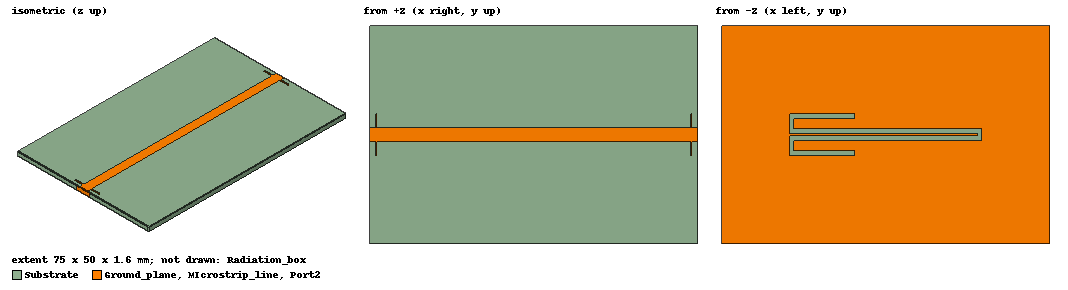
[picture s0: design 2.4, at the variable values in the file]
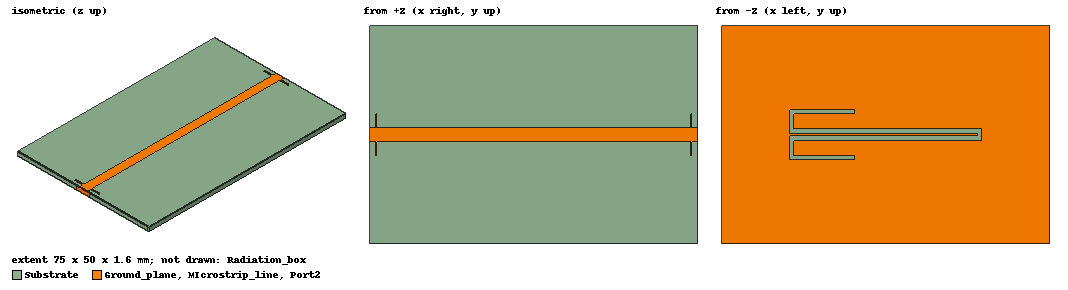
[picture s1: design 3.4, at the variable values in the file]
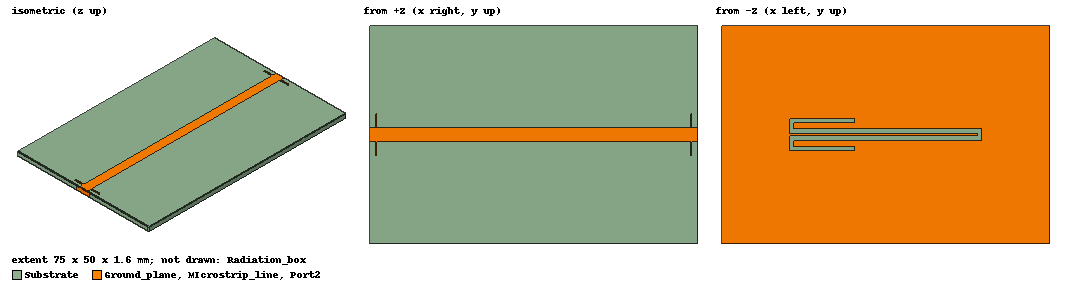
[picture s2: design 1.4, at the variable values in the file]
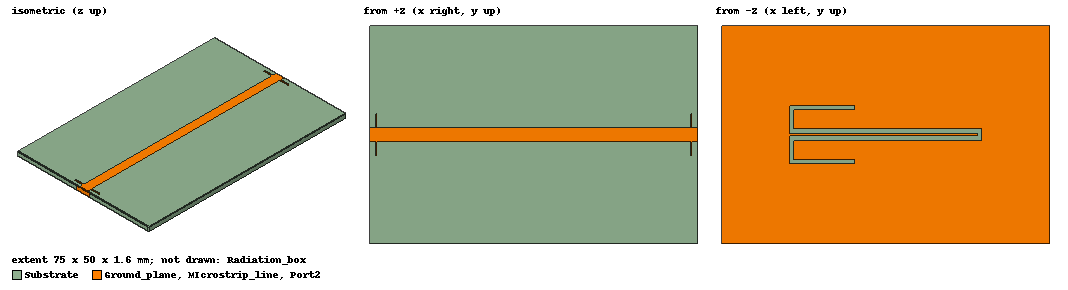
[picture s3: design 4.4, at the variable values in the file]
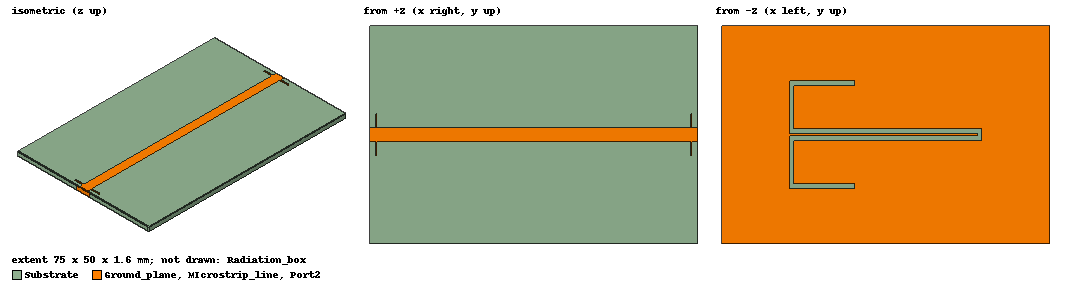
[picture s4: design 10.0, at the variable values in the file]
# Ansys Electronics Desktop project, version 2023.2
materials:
  vacuum: permittivity=1
  FR4_epoxy: permittivity=4.4 dielectric_loss_tangent=0.02
  air: permittivity=1.0006 permeability=1.0000004
  copper: permeability=0.999991 conductivity=58000000

design 2.4 (HFSS, HFSS Terminal Network, model units mm)
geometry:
  Substrate [FR4_epoxy] = box(corner=(-37.5mm, -25mm, 0mm), size=(75mm, 50mm, 1.6mm))
  Ground_plane = rectangle(corner=(-37.5mm, -25mm, 0mm), x_size=75mm, y_size=50mm)
  Rectangle1 = rectangle(corner=(-22mm, -1.3mm, 0mm), x_size=44mm, y_size=1mm)
  Rectangle2 = rectangle(corner=(-22mm, 0.3mm, 0mm), x_size=44mm, y_size=1mm)
  Rectangle3 = rectangle(corner=(-22mm, -0.3mm, 0mm), x_size=1mm, y_size=0.6mm)
  Rectangle4 = rectangle(corner=(22mm, -1.3mm, 0mm), x_size=-1mm, y_size=-2.4mm)
  Rectangle5 = rectangle(corner=(22mm, 3.7mm, 0mm), x_size=-1mm, y_size=-2.4mm)
  Rectangle6 = rectangle(corner=(22mm, -3.7mm, 0mm), x_size=-15mm, y_size=-1mm)
  Rectangle7 = rectangle(corner=(22mm, 4.7mm, 0mm), x_size=-15mm, y_size=-1mm)
  Ground_plane.subtract(Rectangle1..Rectangle7)
  MIcrostrip_line = rectangle(corner=(-37.5mm, -1.5mm, 1.6mm), x_size=75mm, y_size=3mm)
  Rectangle8 = rectangle(corner=(35.8mm, -1.5mm, 1.6mm), x_size=0.4mm, y_size=-3.4mm)
  Rectangle9 = rectangle(corner=(35.8mm, 1.5mm, 1.6mm), x_size=0.4mm, y_size=3.4mm)
  Rectangle10 = rectangle(corner=(-36.2mm, -1.5mm, 1.6mm), x_size=0.4mm, y_size=-3.4mm)
  Rectangle11 = rectangle(corner=(-36.2mm, 1.5mm, 1.6mm), x_size=0.4mm, y_size=3.4mm)
  MIcrostrip_line.unite(Rectangle8..Rectangle11)
  Port1 = rectangle(corner=(-37.5mm, -2.5mm, 1.6mm), y_size=5mm, z_size=-1.6mm)
  Port2 = rectangle(corner=(37.5mm, -2.5mm, 1.6mm), y_size=5mm, z_size=-1.6mm)
  Radiation_box [air] = box(corner=(-60mm, -45mm, -10mm), size=(125mm, 90mm, 35mm))
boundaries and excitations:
  PerfE1: Perfect E Objects=Ground_plane
  PerfE2: Perfect E Objects=MIcrostrip_line
  Rad1: Radiation Objects=Radiation_box
  1: Lumped Port Objects=Port1 LumpedPortType=Modal Modes{Mode1{IntLine{(-37.5, 0, 0) -> (-37.5, 0, 1.6)} CharImp=Zpi RenormImp=50ohm}} Impedance=50ohm
  2: Lumped Port Objects=Port2 LumpedPortType=Modal Modes{Mode1{IntLine{(37.5, 0, 0) -> (37.5, 0, 1.6)} CharImp=Zpi RenormImp=50ohm}} Impedance=50ohm
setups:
  Setup1: HfssDriven Frequency=1GHz MaxDeltaS=0.02 MaximumPasses=6 MinimumPasses=1 MinimumConvergedPasses=1 PercentRefinement=30 BasisOrder=1 PortAccuracy=2 DrivenSolverType="Direct Solver"
    sweep Sweep: 0.1GHz to 1.5GHz, 901 points; Type=Fast SaveFields
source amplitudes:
  1:1: 1V 0deg
  2:1: 0V 0deg
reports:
  S Parameter Plot 1: dB(S(1,1)), dB(S(2,1)), dB(S(1,2)), dB(S(2,2)) vs Freq on Setup1 : Sweep

design 3.4 (HFSS, HFSS Terminal Network, model units mm)
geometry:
  Substrate [FR4_epoxy] = box(corner=(-37.5mm, -25mm, 0mm), size=(75mm, 50mm, 1.6mm))
  Ground_plane = rectangle(corner=(-37.5mm, -25mm, 0mm), x_size=75mm, y_size=50mm)
  Rectangle1 = rectangle(corner=(-22mm, -1.3mm, 0mm), x_size=44mm, y_size=1mm)
  Rectangle2 = rectangle(corner=(-22mm, 0.3mm, 0mm), x_size=44mm, y_size=1mm)
  Rectangle3 = rectangle(corner=(-22mm, -0.3mm, 0mm), x_size=1mm, y_size=0.6mm)
  Rectangle4 = rectangle(corner=(22mm, -1.3mm, 0mm), x_size=-1mm, y_size=-3.4mm)
  Rectangle5 = rectangle(corner=(22mm, 4.7mm, 0mm), x_size=-1mm, y_size=-3.4mm)
  Rectangle6 = rectangle(corner=(22mm, -4.7mm, 0mm), x_size=-15mm, y_size=-1mm)
  Rectangle7 = rectangle(corner=(22mm, 5.7mm, 0mm), x_size=-15mm, y_size=-1mm)
  Ground_plane.subtract(Rectangle1..Rectangle7)
  MIcrostrip_line = rectangle(corner=(-37.5mm, -1.5mm, 1.6mm), x_size=75mm, y_size=3mm)
  Rectangle8 = rectangle(corner=(35.8mm, -1.5mm, 1.6mm), x_size=0.4mm, y_size=-3.4mm)
  Rectangle9 = rectangle(corner=(35.8mm, 1.5mm, 1.6mm), x_size=0.4mm, y_size=3.4mm)
  Rectangle10 = rectangle(corner=(-36.2mm, -1.5mm, 1.6mm), x_size=0.4mm, y_size=-3.4mm)
  Rectangle11 = rectangle(corner=(-36.2mm, 1.5mm, 1.6mm), x_size=0.4mm, y_size=3.4mm)
  MIcrostrip_line.unite(Rectangle8..Rectangle11)
  Port1 = rectangle(corner=(-37.5mm, -2.5mm, 1.6mm), y_size=5mm, z_size=-1.6mm)
  Port2 = rectangle(corner=(37.5mm, -2.5mm, 1.6mm), y_size=5mm, z_size=-1.6mm)
  Radiation_box [air] = box(corner=(-60mm, -45mm, -10mm), size=(125mm, 90mm, 35mm))
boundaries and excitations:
  PerfE1: Perfect E Objects=Ground_plane
  PerfE2: Perfect E Objects=MIcrostrip_line
  Rad1: Radiation Objects=Radiation_box
  1: Lumped Port Objects=Port1 LumpedPortType=Modal Modes{Mode1{IntLine{(-37.5, 0, 0) -> (-37.5, 0, 1.6)} CharImp=Zpi RenormImp=50ohm}} Impedance=50ohm
  2: Lumped Port Objects=Port2 LumpedPortType=Modal Modes{Mode1{IntLine{(37.5, 0, 0) -> (37.5, 0, 1.6)} CharImp=Zpi RenormImp=50ohm}} Impedance=50ohm
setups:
  Setup1: HfssDriven Frequency=1GHz MaxDeltaS=0.02 MaximumPasses=6 MinimumPasses=1 MinimumConvergedPasses=1 PercentRefinement=30 BasisOrder=1 PortAccuracy=2 DrivenSolverType="Direct Solver"
    sweep Sweep: 0.1GHz to 1.5GHz, 901 points; Type=Fast SaveFields
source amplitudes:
  1:1: 1V 0deg
  2:1: 0V 0deg
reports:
  S Parameter Plot 1: dB(S(1,1)), dB(S(2,1)), dB(S(1,2)), dB(S(2,2)) vs Freq on Setup1 : Sweep; markers m1 at 0.31933333GHz, m2 at 1.1624444GHz, m3 at 0.55422222GHz, m4 at 0.91822222GHz, m5 at 0.94622222GHz, m6 at 0.93377778GHz

design 1.4 (HFSS, HFSS Terminal Network, model units mm)
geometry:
  Substrate [FR4_epoxy] = box(corner=(-37.5mm, -25mm, 0mm), size=(75mm, 50mm, 1.6mm))
  Ground_plane = rectangle(corner=(-37.5mm, -25mm, 0mm), x_size=75mm, y_size=50mm)
  Rectangle1 = rectangle(corner=(-22mm, -1.3mm, 0mm), x_size=44mm, y_size=1mm)
  Rectangle2 = rectangle(corner=(-22mm, 0.3mm, 0mm), x_size=44mm, y_size=1mm)
  Rectangle3 = rectangle(corner=(-22mm, -0.3mm, 0mm), x_size=1mm, y_size=0.6mm)
  Rectangle4 = rectangle(corner=(22mm, -1.3mm, 0mm), x_size=-1mm, y_size=-1.4mm)
  Rectangle5 = rectangle(corner=(22mm, 2.7mm, 0mm), x_size=-1mm, y_size=-1.4mm)
  Rectangle6 = rectangle(corner=(22mm, -2.7mm, 0mm), x_size=-15mm, y_size=-1mm)
  Rectangle7 = rectangle(corner=(22mm, 3.7mm, 0mm), x_size=-15mm, y_size=-1mm)
  Ground_plane.subtract(Rectangle1..Rectangle7)
  MIcrostrip_line = rectangle(corner=(-37.5mm, -1.5mm, 1.6mm), x_size=75mm, y_size=3mm)
  Rectangle8 = rectangle(corner=(35.8mm, -1.5mm, 1.6mm), x_size=0.4mm, y_size=-3.4mm)
  Rectangle9 = rectangle(corner=(35.8mm, 1.5mm, 1.6mm), x_size=0.4mm, y_size=3.4mm)
  Rectangle10 = rectangle(corner=(-36.2mm, -1.5mm, 1.6mm), x_size=0.4mm, y_size=-3.4mm)
  Rectangle11 = rectangle(corner=(-36.2mm, 1.5mm, 1.6mm), x_size=0.4mm, y_size=3.4mm)
  MIcrostrip_line.unite(Rectangle8..Rectangle11)
  Port1 = rectangle(corner=(-37.5mm, -2.5mm, 1.6mm), y_size=5mm, z_size=-1.6mm)
  Port2 = rectangle(corner=(37.5mm, -2.5mm, 1.6mm), y_size=5mm, z_size=-1.6mm)
  Radiation_box [air] = box(corner=(-60mm, -45mm, -10mm), size=(125mm, 90mm, 35mm))
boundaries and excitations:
  PerfE1: Perfect E Objects=Ground_plane
  PerfE2: Perfect E Objects=MIcrostrip_line
  Rad1: Radiation Objects=Radiation_box
  1: Lumped Port Objects=Port1 LumpedPortType=Modal Modes{Mode1{IntLine{(-37.5, 0, 0) -> (-37.5, 0, 1.6)} CharImp=Zpi RenormImp=50ohm}} Impedance=50ohm
  2: Lumped Port Objects=Port2 LumpedPortType=Modal Modes{Mode1{IntLine{(37.5, 0, 0) -> (37.5, 0, 1.6)} CharImp=Zpi RenormImp=50ohm}} Impedance=50ohm
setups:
  Setup1: HfssDriven Frequency=1GHz MaxDeltaS=0.02 MaximumPasses=6 MinimumPasses=1 MinimumConvergedPasses=1 PercentRefinement=30 BasisOrder=1 PortAccuracy=2 DrivenSolverType="Direct Solver"
    sweep Sweep: 0.1GHz to 1.5GHz, 901 points; Type=Fast SaveFields
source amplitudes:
  1:1: 1V 0deg
  2:1: 0V 0deg
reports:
  S Parameter Plot 1: dB(S(1,1)), dB(S(2,1)), dB(S(1,2)), dB(S(2,2)) vs Freq on Setup1 : Sweep; markers m1 at 0.324GHz, m2 at 0.92911111GHz, m3 at 0.91666667GHz, m4 at 0.94155556GHz, m5 at 0.63355556GHz, m6 at 1.0846667GHz

design 4.4 (HFSS, HFSS Terminal Network, model units mm)
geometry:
  Substrate [FR4_epoxy] = box(corner=(-37.5mm, -25mm, 0mm), size=(75mm, 50mm, 1.6mm))
  Ground_plane = rectangle(corner=(-37.5mm, -25mm, 0mm), x_size=75mm, y_size=50mm)
  Rectangle1 = rectangle(corner=(-22mm, -1.3mm, 0mm), x_size=44mm, y_size=1mm)
  Rectangle2 = rectangle(corner=(-22mm, 0.3mm, 0mm), x_size=44mm, y_size=1mm)
  Rectangle3 = rectangle(corner=(-22mm, -0.3mm, 0mm), x_size=1mm, y_size=0.6mm)
  Rectangle4 = rectangle(corner=(22mm, -1.3mm, 0mm), x_size=-1mm, y_size=-4.4mm)
  Rectangle5 = rectangle(corner=(22mm, 5.7mm, 0mm), x_size=-1mm, y_size=-4.4mm)
  Rectangle6 = rectangle(corner=(22mm, -5.7mm, 0mm), x_size=-15mm, y_size=-1mm)
  Rectangle7 = rectangle(corner=(22mm, 6.7mm, 0mm), x_size=-15mm, y_size=-1mm)
  Ground_plane.subtract(Rectangle1..Rectangle7)
  MIcrostrip_line = rectangle(corner=(-37.5mm, -1.5mm, 1.6mm), x_size=75mm, y_size=3mm)
  Rectangle8 = rectangle(corner=(35.8mm, -1.5mm, 1.6mm), x_size=0.4mm, y_size=-3.4mm)
  Rectangle9 = rectangle(corner=(35.8mm, 1.5mm, 1.6mm), x_size=0.4mm, y_size=3.4mm)
  Rectangle10 = rectangle(corner=(-36.2mm, -1.5mm, 1.6mm), x_size=0.4mm, y_size=-3.4mm)
  Rectangle11 = rectangle(corner=(-36.2mm, 1.5mm, 1.6mm), x_size=0.4mm, y_size=3.4mm)
  MIcrostrip_line.unite(Rectangle8..Rectangle11)
  Port1 = rectangle(corner=(-37.5mm, -2.5mm, 1.6mm), y_size=5mm, z_size=-1.6mm)
  Port2 = rectangle(corner=(37.5mm, -2.5mm, 1.6mm), y_size=5mm, z_size=-1.6mm)
  Radiation_box [air] = box(corner=(-60mm, -45mm, -10mm), size=(125mm, 90mm, 35mm))
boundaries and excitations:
  PerfE1: Perfect E Objects=Ground_plane
  PerfE2: Perfect E Objects=MIcrostrip_line
  Rad1: Radiation Objects=Radiation_box
  1: Lumped Port Objects=Port1 LumpedPortType=Modal Modes{Mode1{IntLine{(-37.5, 0, 0) -> (-37.5, 0, 1.6)} CharImp=Zpi RenormImp=50ohm}} Impedance=50ohm
  2: Lumped Port Objects=Port2 LumpedPortType=Modal Modes{Mode1{IntLine{(37.5, 0, 0) -> (37.5, 0, 1.6)} CharImp=Zpi RenormImp=50ohm}} Impedance=50ohm
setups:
  Setup1: HfssDriven Frequency=1GHz MaxDeltaS=0.02 MaximumPasses=6 MinimumPasses=1 MinimumConvergedPasses=1 PercentRefinement=30 BasisOrder=1 PortAccuracy=2 DrivenSolverType="Direct Solver"
    sweep Sweep: 0.1GHz to 1.5GHz, 901 points; Type=Fast SaveFields
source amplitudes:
  1:1: 1V 0deg
  2:1: 0V 0deg
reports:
  S Parameter Plot 1: dB(S(1,1)), dB(S(2,1)), dB(S(1,2)), dB(S(2,2)) vs Freq on Setup1 : Sweep; markers m1 at 0.91666667GHz, m2 at 0.90266667GHz, m3 at 0.93066667GHz, m4 at 1.0971111GHz, m5 at 0.69733333GHz, m6 at 0.27266667GHz

design 10.0 (HFSS, HFSS Terminal Network, model units mm)
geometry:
  Substrate [FR4_epoxy] = box(corner=(-37.5mm, -25mm, 0mm), size=(75mm, 50mm, 1.6mm))
  Ground_plane = rectangle(corner=(-37.5mm, -25mm, 0mm), x_size=75mm, y_size=50mm)
  Rectangle1 = rectangle(corner=(-22mm, -1.3mm, 0mm), x_size=44mm, y_size=1mm)
  Rectangle2 = rectangle(corner=(-22mm, 0.3mm, 0mm), x_size=44mm, y_size=1mm)
  Rectangle3 = rectangle(corner=(-22mm, -0.3mm, 0mm), x_size=1mm, y_size=0.6mm)
  Rectangle4 = rectangle(corner=(22mm, -1.3mm, 0mm), x_size=-1mm, y_size=-10mm)
  Rectangle5 = rectangle(corner=(22mm, 11.3mm, 0mm), x_size=-1mm, y_size=-10mm)
  Rectangle6 = rectangle(corner=(22mm, -11.3mm, 0mm), x_size=-15mm, y_size=-1mm)
  Rectangle7 = rectangle(corner=(22mm, 12.3mm, 0mm), x_size=-15mm, y_size=-1mm)
  Ground_plane.subtract(Rectangle1..Rectangle7)
  MIcrostrip_line = rectangle(corner=(-37.5mm, -1.5mm, 1.6mm), x_size=75mm, y_size=3mm)
  Rectangle8 = rectangle(corner=(35.8mm, -1.5mm, 1.6mm), x_size=0.4mm, y_size=-3.4mm)
  Rectangle9 = rectangle(corner=(35.8mm, 1.5mm, 1.6mm), x_size=0.4mm, y_size=3.4mm)
  Rectangle10 = rectangle(corner=(-36.2mm, -1.5mm, 1.6mm), x_size=0.4mm, y_size=-3.4mm)
  Rectangle11 = rectangle(corner=(-36.2mm, 1.5mm, 1.6mm), x_size=0.4mm, y_size=3.4mm)
  MIcrostrip_line.unite(Rectangle8..Rectangle11)
  Port1 = rectangle(corner=(-37.5mm, -2.5mm, 1.6mm), y_size=5mm, z_size=-1.6mm)
  Port2 = rectangle(corner=(37.5mm, -2.5mm, 1.6mm), y_size=5mm, z_size=-1.6mm)
  Radiation_box [air] = box(corner=(-60mm, -45mm, -10mm), size=(125mm, 90mm, 35mm))
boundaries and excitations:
  PerfE1: Perfect E Objects=Ground_plane
  PerfE2: Perfect E Objects=MIcrostrip_line
  Rad1: Radiation Objects=Radiation_box
  1: Lumped Port Objects=Port1 LumpedPortType=Modal Modes{Mode1{IntLine{(-37.5, 0, 0) -> (-37.5, 0, 1.6)} CharImp=Zpi RenormImp=50ohm}} Impedance=50ohm
  2: Lumped Port Objects=Port2 LumpedPortType=Modal Modes{Mode1{IntLine{(37.5, 0, 0) -> (37.5, 0, 1.6)} CharImp=Zpi RenormImp=50ohm}} Impedance=50ohm
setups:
  Setup1: HfssDriven Frequency=1GHz MaxDeltaS=0.02 MaximumPasses=6 MinimumPasses=1 MinimumConvergedPasses=1 PercentRefinement=30 BasisOrder=1 PortAccuracy=2 DrivenSolverType="Direct Solver"
    sweep Sweep: 0.1GHz to 1.5GHz, 901 points; Type=Fast SaveFields
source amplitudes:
  1:1: 1V 0deg
  2:1: 0V 0deg
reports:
  S Parameter Plot 1: dB(S(1,1)), dB(S(2,1)), dB(S(1,2)), dB(S(2,2)) vs Freq on Setup1 : Sweep; markers m1 at 0.27577778GHz, m2 at 0.912GHz, m3 at 0.89488889GHz, m4 at 0.92755556GHz, m5 at 0.56822222GHz, m6 at 1.0753333GHz
